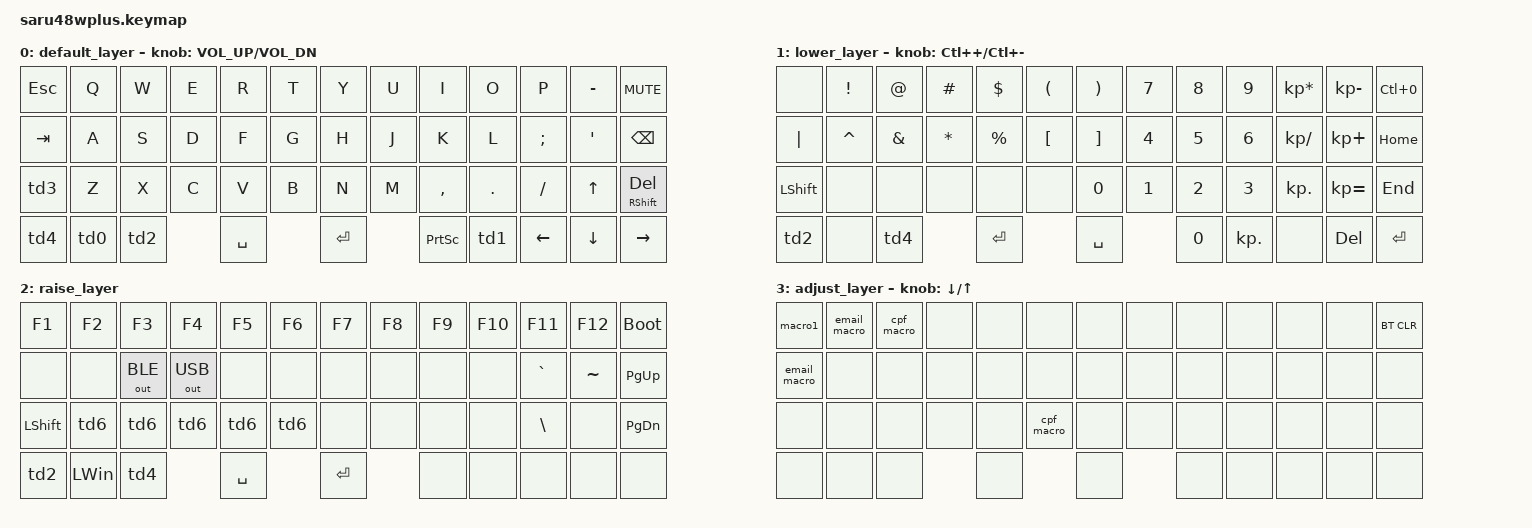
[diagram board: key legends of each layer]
/*
 * Copyright (c) 2023 Salvatore La Bua
 *
 * SPDX-License-Identifier: MIT
 */

#include <behaviors.dtsi>
#include <dt-bindings/zmk/bt.h>
#include <dt-bindings/zmk/keys.h>
#include <dt-bindings/zmk/outputs.h>

/* Layers */

#define DEFAULT 0
#define LOWER   1
#define RAISE   2
#define ADJUST  3

/ {
    combos {
        compatible = "zmk,combos";

        combo_ret {
            timeout-ms = <50>;
            key-positions = <24 25>;
            bindings = <&kp RET>;
            layers = <DEFAULT>;
        };

        combo_bsp {
            timeout-ms = <50>;
            key-positions = <10 11>;
            bindings = <&kp BSPC>;
            layers = <DEFAULT>;
        };

        combo_adj {
            timeout-ms = <50>;
            key-positions = <26 40>;
            bindings = <&mo ADJUST>;
            layers = <DEFAULT>;
        };
    };

    behaviors {
        td0: Lower_LGUI {
            compatible = "zmk,behavior-tap-dance";
            #binding-cells = <0>;
            tapping-term-ms = <300>;
            bindings = <&mo LOWER>, <&kp LWIN>;
        };

        td1: Raise_RALT {
            compatible = "zmk,behavior-tap-dance";
            #binding-cells = <0>;
            tapping-term-ms = <200>;
            bindings = <&mo RAISE>, <&kp RALT>;
        };

        td2: LALT_RGUI {
            compatible = "zmk,behavior-tap-dance";
            #binding-cells = <0>;
            tapping-term-ms = <200>;
            bindings = <&kp LALT>, <&kp RWIN>;
        };

        td3: LSFT_SysREQ {
            compatible = "zmk,behavior-tap-dance";
            #binding-cells = <0>;
            tapping-term-ms = <200>;
            bindings = <&kp LSHIFT>, <&kp SYSREQ>;
        };

        td4: LCTRL_APP {
            compatible = "zmk,behavior-tap-dance";
            #binding-cells = <0>;
            tapping-term-ms = <200>;
            bindings = <&kp LCTRL>, <&kp K_APP>;
        };

        td5: BSPC_DEL {
            compatible = "zmk,behavior-tap-dance";
            #binding-cells = <0>;
            tapping-term-ms = <150>;
            bindings = <&kp BSPC>, <&kp DEL>;
        };

        td6: BT0_DISC0 {
            compatible = "zmk,behavior-tap-dance";
            #binding-cells = <0>;
            tapping-term-ms = <200>;
            bindings = <&bt BT_SEL 0>, <&bt BT_DISC 0>;
        };

        td7: BT1_DISC1 {
            compatible = "zmk,behavior-tap-dance";
            #binding-cells = <0>;
            tapping-term-ms = <200>;
            bindings = <&bt BT_SEL 1>, <&bt BT_DISC 1>;
        };

        td8: BT2_DISC2 {
            compatible = "zmk,behavior-tap-dance";
            #binding-cells = <0>;
            tapping-term-ms = <200>;
            bindings = <&bt BT_SEL 2>, <&bt BT_DISC 2>;
        };

        td9: BT3_DISC3 {
            compatible = "zmk,behavior-tap-dance";
            #binding-cells = <0>;
            tapping-term-ms = <200>;
            bindings = <&bt BT_SEL 3>, <&bt BT_DISC 3>;
        };

        td10: BT4_DISC4 {
            compatible = "zmk,behavior-tap-dance";
            #binding-cells = <0>;
            tapping-term-ms = <200>;
            bindings = <&bt BT_SEL 4>, <&bt BT_DISC 4>;
        };

        ht0: hold_tap_0 {
            compatible = "zmk,behavior-hold-tap";
            bindings = <&kp>, <&kp>;

            #binding-cells = <2>;
            tapping-term-ms = <200>;
            #quick-tap-ms = <200>;
            require-prior-idle-ms = <125>;
        };
    };

    macros {
        macro1: macro1 {
            compatible = "zmk,behavior-macro";
            #binding-cells = <0>;
            bindings = <&kp LS(J) &kp O &kp S &kp E &kp SPACE &kp LS(E) &kp D &kp U &kp A &kp R &kp D &kp O &kp SPACE &kp LS(L) &kp O &kp P &kp E &kp S &kp SPACE &kp D &kp E &kp SPACE &kp LS(S) &kp O &kp U &kp Z &kp A>;
            label = "MACRO1";
        };

        email_macro: email_macro {
            compatible = "zmk,behavior-macro";
            #binding-cells = <0>;
            bindings = <&kp J &kp O &kp S &kp N3 &kp D &kp U &kp A &kp R &kp D &kp O &kp L &kp O &kp P &kp E &kp S &kp AT &kp G &kp M &kp A &kp I &kp L &kp DOT &kp C &kp O &kp M>;
            label = "EMAIL_MACRO";
        };

        cpf_macro: cpf_macro {
            compatible = "zmk,behavior-macro";
            #binding-cells = <0>;
            bindings = <&kp N0 &kp N2 &kp N6 &kp N6 &kp N5 &kp N3 &kp N2 &kp N3 &kp N1 &kp N4 &kp N1>;
            label = "CPF_MACRO";
        };
    };

    keymap {
        compatible = "zmk,keymap";

        default_layer {
            // -----------------------------------------------------------------------------------------------------------------------------------
            // |   ESC   |    Q    |    W    |    E    |    R    |    T    |    Y    |    U    |    I    |    O    |    P    |    -    |  MUTE   |
            // |   TAB   |    A    |    S    |    D    |    F    |    G    |    H    |    J    |    K    |    L    |    ;    |    '    |  PRINT  |
            // |LSHF/SYSR|    Z    |    X    |    C    |    V    |    B    |    N    |    M    |    ,    |    .    |    /    |   UP    |RSHFT/DEL|
            // |LALT/RWIN|LOWR/LWIN|LCTRL/APP|         |  SPACE  |         | RETURN  |         |  BKSPC  |RAIS/RALT|  LEFT   |  DOWN   |  RIGHT  |
            // -----------------------------------------------------------------------------------------------------------------------------------

            bindings = <
&kp ESC  &kp Q  &kp W  &kp E  &kp R      &kp T  &kp Y      &kp U  &kp I            &kp O    &kp P     &kp MINUS  &kp C_MUTE
&kp TAB  &kp A  &kp S  &kp D  &kp F      &kp G  &kp H      &kp J  &kp K            &kp L    &kp SEMI  &kp SQT    &kp BACKSPACE
&td3     &kp Z  &kp X  &kp C  &kp V      &kp B  &kp N      &kp M  &kp COMMA        &kp DOT  &kp FSLH  &kp UP     &ht0 RSHIFT DEL
&td4     &td0   &td2          &kp SPACE         &kp ENTER         &kp PRINTSCREEN  &td1     &kp LEFT  &kp DOWN   &kp RIGHT
            >;

            sensor-bindings = <&inc_dec_kp C_VOL_UP C_VOL_DN>;
        };

        lower_layer {
            // -----------------------------------------------------------------------------------------------------------------------------------
            // |         |    !    |    @    |    #    |    $    |    (    |    )    |    7    |    8    |    9    |    *    |    -    |ZOOMRESET|
            // |    |    |    ^    |    &    |    *    |    %    |    [    |    ]    |    4    |    5    |    6    |    /    |    +    |  HOME   |
            // | LSHIFT  |         |         |         |         |         |    0    |    1    |    2    |    3    |    .    |    =    |   END   |
            // |LALT/RWIN|  XXXXX  |LCTRL/APP|         |  SPACE  |         | RETURN  |         |    0    |    .    |         |   DEL   | RETURN  |
            // -----------------------------------------------------------------------------------------------------------------------------------

            bindings = <
&none       &kp EXCL   &kp AT    &kp HASH  &kp DLLR   &kp LPAR  &kp RPAR   &kp N7  &kp N8  &kp N9      &kp KP_ASTERISK  &kp KP_MINUS  &kp LC(N0)
&kp PIPE    &kp CARET  &kp AMPS  &kp STAR  &kp PRCNT  &kp LBKT  &kp RBKT   &kp N4  &kp N5  &kp N6      &kp KP_SLASH     &kp KP_PLUS   &kp HOME
&kp LSHIFT  &none      &none     &none     &none      &none     &kp N0     &kp N1  &kp N2  &kp N3      &kp KP_DOT       &kp KP_EQUAL  &kp END
&td2        &none      &td4                &kp ENTER            &kp SPACE          &kp N0  &kp KP_DOT  &none            &kp DEL       &kp RET
            >;

            sensor-bindings = <&inc_dec_kp LC(PLUS) LC(MINUS)>;
        };

        raise_layer {
            // -----------------------------------------------------------------------------------------------------------------------------------
            // |   F1    |   F2    |   F3    |   F4    |   F5    |   F6    |   F7    |   F8    |   F9    |   F10   |   F11   |   F12   | BOOTLDR |
            // |         |         | OUT-BLE | OUT-USB |         |         |         |         |         |         |    `    |    ~    |  PgUP   |
            // | LSHIFT  |BT1/DISC |BT2/DISC |BT3/DISC |BT4/DISC |BT5/DISC |         |         |         |         |    \    |         |  PgDN   |
            // |LALT/RWIN|  LWIN   |LCTRL/APP|         |  SPACE  |         | RETURN  |         |         |  XXXXX  |         |         |         |
            // -----------------------------------------------------------------------------------------------------------------------------------

            bindings = <
&kp F1      &kp F2    &kp F3        &kp F4        &kp F5     &kp F6  &kp F7   &kp F8  &kp F9  &kp F10  &kp F11    &kp F12    &bootloader
&none       &none     &out OUT_BLE  &out OUT_USB  &none      &none   &none    &none   &none   &none    &kp GRAVE  &kp TILDE  &kp PG_UP
&kp LSHIFT  &td6      &td6          &td6          &td6       &td6    &none    &none   &none   &none    &kp BSLH   &none      &kp PG_DN
&td2        &kp LWIN  &td4                        &kp SPACE          &kp RET          &none   &none    &none      &none      &none
            >;
        };

        adjust_layer {
            // -----------------------------------------------------------------------------------------------------------------------------------
            // |         |         |         |         |         |         |         |         |         |         |         |         | BT CLR  |
            // |         |         |         |         |         |         |         |         |         |         |         |         |         |
            // |         |         |         |         |         |         |         |         |         |         |         |         |         |
            // |         |         |         |         |         |         |         |         |         |         |         |         |         |
            // -----------------------------------------------------------------------------------------------------------------------------------

            bindings = <
&macro1       &email_macro  &cpf_macro  &none  &none  &none       &none  &none  &none  &none  &none  &none  &bt BT_CLR
&email_macro  &none         &none       &none  &none  &none       &none  &none  &none  &none  &none  &none  &none
&none         &none         &none       &none  &none  &cpf_macro  &none  &none  &none  &none  &none  &none  &none
&none         &none         &none              &none              &none         &none  &none  &none  &none  &none
            >;

            sensor-bindings = <&inc_dec_kp DOWN UP>;
        };
    };
};
